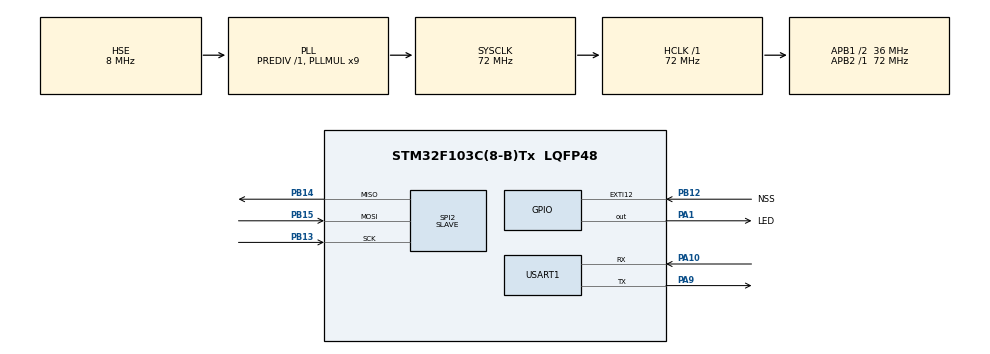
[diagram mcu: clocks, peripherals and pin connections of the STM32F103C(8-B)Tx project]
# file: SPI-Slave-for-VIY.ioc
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Dma.Request0=SPI2_RX
Dma.Request1=SPI2_TX
Dma.SPI2_RX.0.Direction=DMA_PERIPH_TO_MEMORY
Dma.SPI2_RX.0.Instance=DMA1_Channel4
Dma.SPI2_RX.0.MemDataAlignment=DMA_MDATAALIGN_BYTE
Dma.SPI2_RX.0.MemInc=DMA_MINC_ENABLE
Dma.SPI2_RX.0.Mode=DMA_NORMAL
Dma.SPI2_RX.0.PeriphDataAlignment=DMA_PDATAALIGN_BYTE
Dma.SPI2_RX.0.PeriphInc=DMA_PINC_DISABLE
Dma.SPI2_RX.0.Priority=DMA_PRIORITY_LOW
Dma.SPI2_TX.1.Direction=DMA_MEMORY_TO_PERIPH
Dma.SPI2_TX.1.Instance=DMA1_Channel5
Dma.SPI2_TX.1.MemDataAlignment=DMA_MDATAALIGN_BYTE
Dma.SPI2_TX.1.MemInc=DMA_MINC_ENABLE
Dma.SPI2_TX.1.Mode=DMA_NORMAL
Dma.SPI2_TX.1.PeriphDataAlignment=DMA_PDATAALIGN_BYTE
Dma.SPI2_TX.1.PeriphInc=DMA_PINC_DISABLE
Dma.SPI2_TX.1.Priority=DMA_PRIORITY_LOW
Mcu.Family=STM32F1
Mcu.Name=STM32F103C(8-B)Tx
Mcu.Package=LQFP48
NVIC.DMA1_Channel4_IRQn=true\:0\:0\:false\:false\:true\:false\:true\:true
NVIC.DMA1_Channel5_IRQn=true\:0\:0\:false\:false\:true\:false\:true\:true
NVIC.EXTI15_10_IRQn=true\:0\:0\:false\:false\:true\:true\:true\:true
NVIC.PriorityGroup=NVIC_PRIORITYGROUP_4
PA1.GPIO_Label=LED
PA1.GPIO_ModeDefaultOutputPP=GPIO_MODE_OUTPUT_OD
PA1.GPIO_PuPd=GPIO_NOPULL
PA1.Signal=GPIO_Output
PA10.Mode=Asynchronous
PA10.Signal=USART1_RX
PA13.Mode=Serial_Wire
PA13.Signal=SYS_JTMS-SWDIO
PA14.Mode=Serial_Wire
PA14.Signal=SYS_JTCK-SWCLK
PA9.Mode=Asynchronous
PA9.Signal=USART1_TX
PB12.GPIO_Label=NSS
PB12.GPIO_ModeDefaultEXTI=GPIO_MODE_IT_RISING_FALLING
PB12.GPIO_PuPd=GPIO_NOPULL
PB12.Signal=GPXTI12
PB13.Mode=Full_Duplex_Slave
PB13.Signal=SPI2_SCK
PB14.Mode=Full_Duplex_Slave
PB14.Signal=SPI2_MISO
PB15.Mode=Full_Duplex_Slave
PB15.Signal=SPI2_MOSI
PD0-OSC_IN.Mode=HSE-External-Oscillator
PD0-OSC_IN.Signal=RCC_OSC_IN
PD1-OSC_OUT.Mode=HSE-External-Oscillator
PD1-OSC_OUT.Signal=RCC_OSC_OUT
ProjectManager.HeapSize=0x200
ProjectManager.StackSize=0x400
ProjectManager.TargetToolchain=STM32CubeIDE
RCC.AHBFreq_Value=72000000
RCC.APB1CLKDivider=RCC_HCLK_DIV2
RCC.APB1Freq_Value=36000000
RCC.APB1TimFreq_Value=72000000
RCC.APB2Freq_Value=72000000
RCC.APB2TimFreq_Value=72000000
RCC.HCLKFreq_Value=72000000
RCC.PLLMUL=RCC_PLL_MUL9
RCC.PLLSourceVirtual=RCC_PLLSOURCE_HSE
RCC.SYSCLKFreq_VALUE=72000000
RCC.SYSCLKSource=RCC_SYSCLKSOURCE_PLLCLK
RCC.USBFreq_Value=72000000
SPI2.CLKPhase=SPI_PHASE_2EDGE
SPI2.CLKPolarity=SPI_POLARITY_HIGH
SPI2.Direction=SPI_DIRECTION_2LINES
SPI2.Mode=SPI_MODE_SLAVE
SPI2.VirtualType=VM_SLAVE
USART1.VirtualMode=VM_ASYNC
board=custom

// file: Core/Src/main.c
/* USER CODE BEGIN Header */
/**
  ******************************************************************************
  * @file           : main.c
  * @brief          : Main program body
  ******************************************************************************
  * @attention
  *
  * Copyright (c) 2022 STMicroelectronics.
  * All rights reserved.
  *
  * This software is licensed under terms that can be found in the LICENSE file
  * in the root directory of this software component.
  * If no LICENSE file comes with this software, it is provided AS-IS.
  *
  ******************************************************************************
  */
/* USER CODE END Header */
#include "main.h"
#include "dma.h"
#include "spi.h"
#include "usart.h"
#include "gpio.h"

/* USER CODE BEGIN Includes */

	#include "stdio.h"
	#include <string.h>

/* USER CODE END Includes */

/* USER CODE BEGIN PD */

	enum {
		TRANSFER_WAIT		= 0,
		TRANSFER_COMPLETE	= 1,
		TRANSFER_ERROR	 	= 2
	};

	#define	BUFFERSIZE	8

/* USER CODE END PD */

/* USER CODE BEGIN PV */

	char DataChar[0xFF];
	uint8_t aTxBuffer[BUFFERSIZE] = "SPI-DMA7" ;
	uint8_t aRxBuffer[BUFFERSIZE] = "01234567" ;
	__IO uint32_t wTransferState = TRANSFER_WAIT;
	int cnt_i=0;
	volatile uint8_t nss_flag = 0;
	extern DMA_HandleTypeDef hdma_spi2_rx;
	volatile HAL_StatusTypeDef status_SPI_DMA_start = HAL_OK ;

/* USER CODE END PV */

void SystemClock_Config(void);
/* USER CODE BEGIN PFP */

	uint16_t BufferCmp(uint8_t *pBuffer1, uint8_t *pBuffer2, uint16_t BufferLength);
	void PrintSPI2 (void);
	void ResetSPI2 (void) ;
	volatile void Start_SPI_DMA (void) ;

/* USER CODE END PFP */

int main(void)
{

  /* MCU Configuration--------------------------------------------------------*/

  /* Reset of all peripherals, Initializes the Flash interface and the Systick. */
  HAL_Init();

  /* Configure the system clock */
  SystemClock_Config();

  /* Initialize all configured peripherals */
  MX_GPIO_Init();
  MX_DMA_Init();
  MX_SPI2_Init();
  MX_USART1_UART_Init();
  /* USER CODE BEGIN 2 */

	sprintf(DataChar,"\r\n\r\n\tSPI+DMA SLAVE for VIY.UA\r\n" );
	HAL_UART_Transmit( &huart1, (uint8_t *)DataChar , strlen(DataChar) , 100 ) ;

	#define DATE_as_int_str 	(__DATE__)
	#define TIME_as_int_str 	(__TIME__)
	sprintf(DataChar,"\tBuild: %s. Time: %s." , DATE_as_int_str , TIME_as_int_str ) ;
	HAL_UART_Transmit( &huart1, (uint8_t *)DataChar , strlen(DataChar) , 100 ) ;

	sprintf(DataChar,"\r\n\tfor debug: UART1 115200/8-N-1\r\n" ) ;
	HAL_UART_Transmit( &huart1, (uint8_t *)DataChar , strlen(DataChar) , 100 ) ;

  /* USER CODE END 2 */

  /* Infinite loop */
  /* USER CODE BEGIN WHILE */
  while (1)
  {
	sprintf(DataChar, "1Tx: " ) ;
	HAL_UART_Transmit( &huart1, (uint8_t *)DataChar , strlen(DataChar) , 100 ) ;
	snprintf(DataChar, BUFFERSIZE + 1 , "%s", (char*)aTxBuffer ) ;
	HAL_UART_Transmit( &huart1, (uint8_t *)DataChar , strlen(DataChar) , 100 ) ;
	sprintf(DataChar, "\r\n" ) ;
	HAL_UART_Transmit( &huart1, (uint8_t *)DataChar , strlen(DataChar) , 100 ) ;

	sprintf(DataChar, "1Rx: " ) ;
	HAL_UART_Transmit( &huart1, (uint8_t *)DataChar , strlen(DataChar) , 100 ) ;
	snprintf(DataChar, BUFFERSIZE + 1 , "%s", (char*)aRxBuffer ) ;
	HAL_UART_Transmit( &huart1, (uint8_t *)DataChar , strlen(DataChar) , 100 ) ;
	sprintf(DataChar, "\r\n" ) ;
	HAL_UART_Transmit( &huart1, (uint8_t *)DataChar , strlen(DataChar) , 100 ) ;

	wTransferState = TRANSFER_WAIT;
	nss_flag = 0;

//	sprintf(DataChar,"SPI_TransmitReceive_DMA" ) ;
//	HAL_UART_Transmit( &huart1, (uint8_t *)DataChar , strlen(DataChar) , 100 ) ;
//	if(HAL_SPI_TransmitReceive_DMA(&hspi2, (uint8_t*)aTxBuffer, (uint8_t *)aRxBuffer, BUFFERSIZE) != HAL_OK) {
//		sprintf(DataChar," - FAIL\r\n" ) ;
//		HAL_UART_Transmit( &huart1, (uint8_t *)DataChar , strlen(DataChar) , 100 ) ;
//	} else {
//		sprintf(DataChar," - Ok.\r\n" ) ;
//		HAL_UART_Transmit( &huart1, (uint8_t *)DataChar , strlen(DataChar) , 100 ) ;
//	}

	cnt_i = 0;
//	while (wTransferState == TRANSFER_WAIT) {
//		HAL_GPIO_TogglePin(LED_GPIO_Port, LED_Pin);
//		sprintf(DataChar,"  TRANSFER_WAIT.. %d\r", cnt_i++ ) ;
//		HAL_UART_Transmit( &huart1, (uint8_t *)DataChar , strlen(DataChar) , 100 ) ;
//		HAL_Delay(100);
//	}

	while (nss_flag == 0) {
		HAL_GPIO_TogglePin(LED_GPIO_Port, LED_Pin);
		sprintf(DataChar,"  NSS not ready.. %d\r", cnt_i++ ) ;
		HAL_UART_Transmit( &huart1, (uint8_t *)DataChar , strlen(DataChar) , 100 ) ;
		HAL_Delay(100);
	}

//	ResetSPI2();

	HAL_GPIO_WritePin(LED_GPIO_Port, LED_Pin, SET);
//	sprintf(DataChar,"TRANSFER_COMPLETED\r\n" ) ;
//	HAL_UART_Transmit( &huart1, (uint8_t *)DataChar , strlen(DataChar) , 100 ) ;

	sprintf(DataChar,"NSS Ready.\r\n" ) ;
	HAL_UART_Transmit( &huart1, (uint8_t *)DataChar , strlen(DataChar) , 100 ) ;

	wTransferState = TRANSFER_COMPLETE;

	sprintf(DataChar,"status_SPI_DMA_start = %d\r\n", status_SPI_DMA_start ) ;
	HAL_UART_Transmit( &huart1, (uint8_t *)DataChar , strlen(DataChar) , 100 ) ;

	sprintf(DataChar,"2Tx: " ) ;
	HAL_UART_Transmit( &huart1, (uint8_t *)DataChar , strlen(DataChar) , 100 ) ;
	snprintf(DataChar, BUFFERSIZE + 1 , "%s", (char*)aTxBuffer ) ;
	HAL_UART_Transmit( &huart1, (uint8_t *)DataChar , strlen(DataChar) , 100 ) ;
	sprintf(DataChar,"\r\n" ) ;
	HAL_UART_Transmit( &huart1, (uint8_t *)DataChar , strlen(DataChar) , 100 ) ;

	sprintf(DataChar,"2Rx: " ) ;
	HAL_UART_Transmit( &huart1, (uint8_t *)DataChar , strlen(DataChar) , 100 ) ;
	snprintf(DataChar, BUFFERSIZE + 1 , "%s", (char*)aRxBuffer ) ;
	HAL_UART_Transmit( &huart1, (uint8_t *)DataChar , strlen(DataChar) , 100 ) ;
	sprintf(DataChar,"\r\n" ) ;
	HAL_UART_Transmit( &huart1, (uint8_t *)DataChar , strlen(DataChar) , 100 ) ;

	//PrintSPI2();
	uint16_t buffer_cmp_res = 0;

	switch(wTransferState) {
		case TRANSFER_COMPLETE :
			buffer_cmp_res = BufferCmp((uint8_t*)aTxBuffer, (uint8_t*)aRxBuffer, BUFFERSIZE);
			sprintf(DataChar,"buffer_cmp_res= %d\r\n", buffer_cmp_res ) ;
			HAL_UART_Transmit( &huart1, (uint8_t *)DataChar , strlen(DataChar) , 100 ) ;
			uint8_t byte_cnt = __HAL_DMA_GET_COUNTER(&hdma_spi2_rx);
			sprintf(DataChar,"DMA_GET_COUNTER= %d\r\n", byte_cnt ) ;
			HAL_UART_Transmit( &huart1, (uint8_t *)DataChar , strlen(DataChar) , 100 ) ;

		  if(buffer_cmp_res)  {
				sprintf(DataChar,"Buffer cmp - Wrong.\r\n\r\n") ;
				HAL_UART_Transmit( &huart1, (uint8_t *)DataChar , strlen(DataChar) , 100 ) ;
		  } else {
				sprintf(DataChar,"Buffer cmp - Success.\r\n\r\n") ;
				HAL_UART_Transmit( &huart1, (uint8_t *)DataChar , strlen(DataChar) , 100 ) ;
		  }
		break;
		default: {} break;
	}
    /* USER CODE END WHILE */

  }
}

void SystemClock_Config(void)
{
  RCC_OscInitTypeDef RCC_OscInitStruct = {0};
  RCC_ClkInitTypeDef RCC_ClkInitStruct = {0};

  /** Initializes the RCC Oscillators according to the specified parameters
  * in the RCC_OscInitTypeDef structure.
  */
  RCC_OscInitStruct.OscillatorType = RCC_OSCILLATORTYPE_HSE;
  RCC_OscInitStruct.HSEState = RCC_HSE_ON;
  RCC_OscInitStruct.HSEPredivValue = RCC_HSE_PREDIV_DIV1;
  RCC_OscInitStruct.HSIState = RCC_HSI_ON;
  RCC_OscInitStruct.PLL.PLLState = RCC_PLL_ON;
  RCC_OscInitStruct.PLL.PLLSource = RCC_PLLSOURCE_HSE;
  RCC_OscInitStruct.PLL.PLLMUL = RCC_PLL_MUL9;
  if (HAL_RCC_OscConfig(&RCC_OscInitStruct) != HAL_OK)
  {
    Error_Handler();
  }

  /** Initializes the CPU, AHB and APB buses clocks
  */
  RCC_ClkInitStruct.ClockType = RCC_CLOCKTYPE_HCLK|RCC_CLOCKTYPE_SYSCLK
                              |RCC_CLOCKTYPE_PCLK1|RCC_CLOCKTYPE_PCLK2;
  RCC_ClkInitStruct.SYSCLKSource = RCC_SYSCLKSOURCE_PLLCLK;
  RCC_ClkInitStruct.AHBCLKDivider = RCC_SYSCLK_DIV1;
  RCC_ClkInitStruct.APB1CLKDivider = RCC_HCLK_DIV2;
  RCC_ClkInitStruct.APB2CLKDivider = RCC_HCLK_DIV1;

  if (HAL_RCC_ClockConfig(&RCC_ClkInitStruct, FLASH_LATENCY_2) != HAL_OK)
  {
    Error_Handler();
  }
}

/* USER CODE BEGIN 4 */

void HAL_SPI_TxRxCpltCallback(SPI_HandleTypeDef *hspi) {
	HAL_GPIO_WritePin(LED_GPIO_Port, LED_Pin, RESET);
	sprintf(DataChar,"\r\nCplt: TRANS_CMPLT\r\n" ) ;
	HAL_UART_Transmit( &huart1, (uint8_t *)DataChar , strlen(DataChar) , 100 ) ;
	wTransferState = TRANSFER_COMPLETE;
}
//-------------------------------------------------------

void HAL_SPI_ErrorCallback(SPI_HandleTypeDef *hspi) {
	sprintf(DataChar,"!!!-TRANSFER_ERROR-!!!\r\n" ) ;
	HAL_UART_Transmit( &huart1, (uint8_t *)DataChar , strlen(DataChar) , 100 ) ;
	wTransferState = TRANSFER_ERROR;
}
//-------------------------------------------------------

uint16_t BufferCmp(uint8_t* pBuffer1, uint8_t* pBuffer2, uint16_t BufferLength) {
	BufferLength++;
	while (BufferLength--) {
		if((*pBuffer1) != *pBuffer2) {
			return BufferLength;
		}
		pBuffer1++;
		pBuffer2++;
	}
	return 0;
}
//-------------------------------------------------------

void PrintSPI2 (void) {
	__IO uint32_t 		myErrorCode		= hspi2.ErrorCode;
	//SPI_InitTypeDef		myInit 			= hspi2.Init;	//	struct SPI hardware
	//SPI_TypeDef* 		myInstance		= hspi2.Instance;	//Екземпляр
	HAL_LockTypeDef		myLock			= hspi2.Lock;	//	0-1-2-3
//	__SPI_HandleTypeDef*	myRxISR 	= hspi2.RxISR;
//	uint32_t myRxISR = hspi2.RxISR ;
//	uint32_t myTxISR = hspi2.TxISR ;

	uint16_t 			myRxXferCount	= hspi2.RxXferCount;
	uint16_t			myRxXferSize	= hspi2.RxXferSize;

	uint16_t 			myTxXferCount	= hspi2.TxXferCount;
	uint16_t			myTxXferSize	= hspi2.TxXferSize;

	uint32_t 			myInit_DataSize	= hspi2.Init.DataSize;

//	sprintf(DataChar,"\r\nmyTxISR \t%lu\r\n", myTxISR ) ;
//	HAL_UART_Transmit( &huart1, (uint8_t *)DataChar , strlen(DataChar) , 100 ) ;
//	sprintf(DataChar,"myRxISR \t%lu\r\n", myRxISR ) ;
//	HAL_UART_Transmit( &huart1, (uint8_t *)DataChar , strlen(DataChar) , 100 ) ;

	sprintf(DataChar,"myErrorCode \t%lu\r\n", myErrorCode ) ;
	HAL_UART_Transmit( &huart1, (uint8_t *)DataChar , strlen(DataChar) , 100 ) ;
	sprintf(DataChar,"myLock \t\t%u\r\n", myLock ) ;
	HAL_UART_Transmit( &huart1, (uint8_t *)DataChar , strlen(DataChar) , 100 ) ;
	sprintf(DataChar,"myRxXferCount \t%u\r\n", myRxXferCount ) ;
	HAL_UART_Transmit( &huart1, (uint8_t *)DataChar , strlen(DataChar) , 100 ) ;
	sprintf(DataChar,"myRxXferSize \t%u\r\n", myRxXferSize ) ;
	HAL_UART_Transmit( &huart1, (uint8_t *)DataChar , strlen(DataChar) , 100 ) ;
	sprintf(DataChar,"myTxXferCount \t%u\r\n", myTxXferCount ) ;
	HAL_UART_Transmit( &huart1, (uint8_t *)DataChar , strlen(DataChar) , 100 ) ;
	sprintf(DataChar,"myTxXferSize \t%u\r\n", myTxXferSize ) ;
	HAL_UART_Transmit( &huart1, (uint8_t *)DataChar , strlen(DataChar) , 100 ) ;
	sprintf(DataChar,"myInit_DataSize %lu\r\n", myInit_DataSize ) ;
	HAL_UART_Transmit( &huart1, (uint8_t *)DataChar , strlen(DataChar) , 100 ) ;

}
//-------------------------------------------------------

void ResetSPI2 (void) {
 hspi2.RxXferCount = 0 ;
 hspi2.RxXferSize  = 0 ;
 hspi2.TxXferCount = 0 ;
 hspi2.TxXferSize  = 0 ;
sprintf(DataChar,"\t-> Cleare SPI2 <-\r\n") ;
HAL_UART_Transmit( &huart1, (uint8_t *)DataChar , strlen(DataChar) , 100 ) ;

	//CLEAR_BIT(hspi->Instance->CR2, SPI_CR2_TXDMAEN | SPI_CR2_RXDMAEN);
	//hspi->State = HAL_SPI_STATE_READY;
	  HAL_DMA_IRQHandler(&hdma_spi2_rx);
//	  HAL_DMA_IRQHandler(&hdma_spi2_tx);
	  HAL_SPI_IRQHandler(&hspi2);

}
//-------------------------------------------------------

void Start_SPI_DMA (void) {
	status_SPI_DMA_start =  HAL_SPI_TransmitReceive_DMA(&hspi2, (uint8_t*)aTxBuffer, (uint8_t *)aRxBuffer, BUFFERSIZE);
}
//-------------------------------------------------------

/* USER CODE END 4 */

void Error_Handler(void)
{
  __disable_irq();
  while (1)
  {
  }
}
